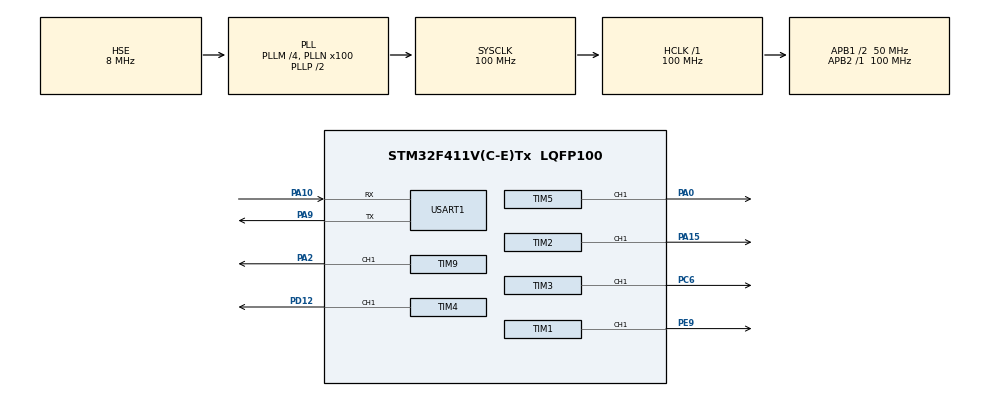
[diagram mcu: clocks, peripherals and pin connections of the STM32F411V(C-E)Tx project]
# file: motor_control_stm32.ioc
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Dma.Request0=USART1_RX
Dma.USART1_RX.0.Direction=DMA_PERIPH_TO_MEMORY
Dma.USART1_RX.0.FIFOMode=DMA_FIFOMODE_DISABLE
Dma.USART1_RX.0.Instance=DMA2_Stream2
Dma.USART1_RX.0.MemDataAlignment=DMA_MDATAALIGN_BYTE
Dma.USART1_RX.0.MemInc=DMA_MINC_ENABLE
Dma.USART1_RX.0.Mode=DMA_CIRCULAR
Dma.USART1_RX.0.PeriphDataAlignment=DMA_PDATAALIGN_BYTE
Dma.USART1_RX.0.PeriphInc=DMA_PINC_DISABLE
Dma.USART1_RX.0.Priority=DMA_PRIORITY_LOW
Mcu.Family=STM32F4
Mcu.Name=STM32F411V(C-E)Tx
Mcu.Package=LQFP100
NVIC.DMA2_Stream2_IRQn=true\:0\:0\:false\:false\:true\:false\:true\:true
NVIC.PriorityGroup=NVIC_PRIORITYGROUP_4
PA0-WKUP.Signal=S_TIM5_CH1
PA10.Mode=Asynchronous
PA10.Signal=USART1_RX
PA15.Signal=S_TIM2_CH1_ETR
PA2.Signal=S_TIM9_CH1
PA9.Mode=Asynchronous
PA9.Signal=USART1_TX
PC6.Signal=S_TIM3_CH1
PD12.Signal=S_TIM4_CH1
PE9.Signal=S_TIM1_CH1
PH0\ -\ OSC_IN.Mode=HSE-External-Oscillator
PH0\ -\ OSC_IN.Signal=RCC_OSC_IN
PH1\ -\ OSC_OUT.Mode=HSE-External-Oscillator
PH1\ -\ OSC_OUT.Signal=RCC_OSC_OUT
ProjectManager.HeapSize=0x2000
ProjectManager.StackSize=0x4000
ProjectManager.TargetToolchain=TrueSTUDIO
RCC.48MHZClocksFreq_Value=50000000
RCC.AHBFreq_Value=100000000
RCC.APB1CLKDivider=RCC_HCLK_DIV2
RCC.APB1Freq_Value=50000000
RCC.APB1TimFreq_Value=100000000
RCC.APB2Freq_Value=100000000
RCC.APB2TimFreq_Value=100000000
RCC.CortexFreq_Value=100000000
RCC.HCLKFreq_Value=100000000
RCC.HSE_VALUE=8000000
RCC.HSI_VALUE=16000000
RCC.LSE_VALUE=32768
RCC.PLLM=4
RCC.PLLN=100
RCC.PLLSourceVirtual=RCC_PLLSOURCE_HSE
RCC.SYSCLKFreq_VALUE=100000000
RCC.SYSCLKSource=RCC_SYSCLKSOURCE_PLLCLK
RCC.VCOOutputFreq_Value=200000000
SH.S_TIM1_CH1.0=TIM1_CH1,PWM Generation1 CH1
SH.S_TIM2_CH1_ETR.0=TIM2_CH1,PWM Generation1 CH1
SH.S_TIM3_CH1.0=TIM3_CH1,PWM Generation1 CH1
SH.S_TIM4_CH1.0=TIM4_CH1,PWM Generation1 CH1
SH.S_TIM5_CH1.0=TIM5_CH1,PWM Generation1 CH1
SH.S_TIM9_CH1.0=TIM9_CH1,PWM Generation1 CH1
TIM1.AutoReloadPreload=TIM_AUTORELOAD_PRELOAD_DISABLE
TIM1.Channel-PWM\ Generation1\ CH1=TIM_CHANNEL_1
TIM1.TIM_MasterOutputTrigger=TIM_TRGO_ENABLE
TIM1.TIM_MasterSlaveMode=TIM_MASTERSLAVEMODE_ENABLE
TIM2.AutoReloadPreload=TIM_AUTORELOAD_PRELOAD_DISABLE
TIM2.Channel-PWM\ Generation1\ CH1=TIM_CHANNEL_1
TIM2.TIM_MasterOutputTrigger=TIM_TRGO_ENABLE
TIM2.TIM_MasterSlaveMode=TIM_MASTERSLAVEMODE_ENABLE
TIM3.AutoReloadPreload=TIM_AUTORELOAD_PRELOAD_DISABLE
TIM3.Channel-PWM\ Generation1\ CH1=TIM_CHANNEL_1
TIM3.TIM_MasterSlaveMode=TIM_MASTERSLAVEMODE_DISABLE
TIM4.AutoReloadPreload=TIM_AUTORELOAD_PRELOAD_DISABLE
TIM4.Channel-PWM\ Generation1\ CH1=TIM_CHANNEL_1
TIM5.AutoReloadPreload=TIM_AUTORELOAD_PRELOAD_DISABLE
TIM5.Channel-PWM\ Generation1\ CH1=TIM_CHANNEL_1
TIM9.AutoReloadPreload=TIM_AUTORELOAD_PRELOAD_DISABLE
TIM9.Channel-PWM\ Generation1\ CH1=TIM_CHANNEL_1
USART1.VirtualMode=VM_ASYNC
VP_TIM1_VS_ClockSourceINT.Mode=Internal
VP_TIM2_VS_ClockSourceINT.Mode=Internal
VP_TIM2_VS_ClockSourceITR.Mode=TriggerSource_ITR0
VP_TIM2_VS_ControllerModeTrigger.Mode=Trigger Mode
VP_TIM3_VS_ClockSourceINT.Mode=Internal
VP_TIM3_VS_ClockSourceITR.Mode=TriggerSource_ITR0
VP_TIM3_VS_ControllerModeTrigger.Mode=Trigger Mode
VP_TIM4_VS_ClockSourceINT.Mode=Internal
VP_TIM4_VS_ClockSourceITR.Mode=TriggerSource_ITR0
VP_TIM4_VS_ControllerModeTrigger.Mode=Trigger Mode
VP_TIM5_VS_ClockSourceINT.Mode=Internal
VP_TIM5_VS_ClockSourceITR.Mode=TriggerSource_ITR0
VP_TIM5_VS_ControllerModeTrigger.Mode=Trigger Mode
VP_TIM9_VS_ClockSourceINT.Mode=Internal
VP_TIM9_VS_ClockSourceITR.Mode=TriggerSource_ITR0
VP_TIM9_VS_ControllerModeTrigger.Mode=Trigger Mode
board=custom

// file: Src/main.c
/* USER CODE BEGIN Header */
/**
  ******************************************************************************
  * @file           : main.c
  * @brief          : Main program body
  ******************************************************************************
  * @attention
  *
  * Copyright (c) 2022 STMicroelectronics.
  * All rights reserved.
  *
  * This software is licensed under terms that can be found in the LICENSE file
  * in the root directory of this software component.
  * If no LICENSE file comes with this software, it is provided AS-IS.
  *
  ******************************************************************************
  */
/* USER CODE END Header */
#include "main.h"
#include "dma.h"
#include "tim.h"
#include "usart.h"
#include "gpio.h"

/* USER CODE BEGIN Includes */
#include "config.h"
#include "protocol.h"
/* USER CODE END Includes */

/* USER CODE BEGIN PV */
uint32_t SYSCLK;
uint8_t num_motors;
/* USER CODE END PV */

void SystemClock_Config(void);

int main(void)
{

  /* MCU Configuration--------------------------------------------------------*/

  /* Reset of all peripherals, Initializes the Flash interface and the Systick. */
  HAL_Init();

  /* Configure the system clock */
  SystemClock_Config();

  /* Initialize all configured peripherals */
  MX_GPIO_Init();
  MX_TIM1_Init();
  MX_TIM3_Init();
  MX_TIM4_Init();
  MX_TIM9_Init();
  MX_DMA_Init();
  MX_USART1_UART_Init();
  MX_TIM2_Init();
  MX_TIM5_Init();
  /* USER CODE BEGIN 2 */

  SYSCLK = HAL_RCC_GetSysClockFreq();
//  GPIO_TypeDef *ports[] = {GPIOE, 	 GPIOA, 	  GPIOC, 	  GPIOD,  	   GPIOA, 	   GPIOA};
//  uint32_t pins[] = 		{GPIO_PIN_9, GPIO_PIN_15, GPIO_PIN_6, GPIO_PIN_12, GPIO_PIN_0, GPIO_PIN_2};
  TIM_HandleTypeDef timers[] = {htim1, htim2, htim3, htim4, htim5, htim9};
  num_motors = sizeof(timers)/sizeof(timers[0]);
  motor_config_t motors[num_motors];
  for (int i = 0; i < num_motors; ++i) {
	  motors[i].tim = &timers[i];
	  init_config(&motors[i], 100, 0, 0);
  }
  start_motors(motors, num_motors);
  HAL_Delay(10);
  stop_motors(motors, num_motors);

  /* USER CODE END 2 */

  /* Infinite loop */
  /* USER CODE BEGIN WHILE */
  decoder_t decoder;
  packet_t packet;
  retval_t ret;
  decoder_initialise(&decoder, &huart1);
  __HAL_UART_ENABLE_IT(&huart1, UART_IT_IDLE);   // enable idle line interrupt
  HAL_UART_Receive_DMA(&huart1, decoder.buffer, DECODE_BUFFER_SIZE);

  while (1)
  {
    /* USER CODE END WHILE */

    /* USER CODE BEGIN 3 */
	  get_new_data(&decoder);
	  ret = check_new_msg(&decoder, &packet);
	  if(ret == RET_OK){
		  process_packet(&packet, motors);
	  }
  }
  /* USER CODE END 3 */
}

void SystemClock_Config(void)
{
  RCC_OscInitTypeDef RCC_OscInitStruct = {0};
  RCC_ClkInitTypeDef RCC_ClkInitStruct = {0};

  /** Configure the main internal regulator output voltage
  */
  __HAL_RCC_PWR_CLK_ENABLE();
  __HAL_PWR_VOLTAGESCALING_CONFIG(PWR_REGULATOR_VOLTAGE_SCALE1);

  /** Initializes the RCC Oscillators according to the specified parameters
  * in the RCC_OscInitTypeDef structure.
  */
  RCC_OscInitStruct.OscillatorType = RCC_OSCILLATORTYPE_HSE;
  RCC_OscInitStruct.HSEState = RCC_HSE_ON;
  RCC_OscInitStruct.PLL.PLLState = RCC_PLL_ON;
  RCC_OscInitStruct.PLL.PLLSource = RCC_PLLSOURCE_HSE;
  RCC_OscInitStruct.PLL.PLLM = 4;
  RCC_OscInitStruct.PLL.PLLN = 100;
  RCC_OscInitStruct.PLL.PLLP = RCC_PLLP_DIV2;
  RCC_OscInitStruct.PLL.PLLQ = 4;
  if (HAL_RCC_OscConfig(&RCC_OscInitStruct) != HAL_OK)
  {
    Error_Handler();
  }

  /** Initializes the CPU, AHB and APB buses clocks
  */
  RCC_ClkInitStruct.ClockType = RCC_CLOCKTYPE_HCLK|RCC_CLOCKTYPE_SYSCLK
                              |RCC_CLOCKTYPE_PCLK1|RCC_CLOCKTYPE_PCLK2;
  RCC_ClkInitStruct.SYSCLKSource = RCC_SYSCLKSOURCE_PLLCLK;
  RCC_ClkInitStruct.AHBCLKDivider = RCC_SYSCLK_DIV1;
  RCC_ClkInitStruct.APB1CLKDivider = RCC_HCLK_DIV2;
  RCC_ClkInitStruct.APB2CLKDivider = RCC_HCLK_DIV1;

  if (HAL_RCC_ClockConfig(&RCC_ClkInitStruct, FLASH_LATENCY_3) != HAL_OK)
  {
    Error_Handler();
  }
}

void Error_Handler(void)
{
  __disable_irq();
  while (1)
  {
  }
}
